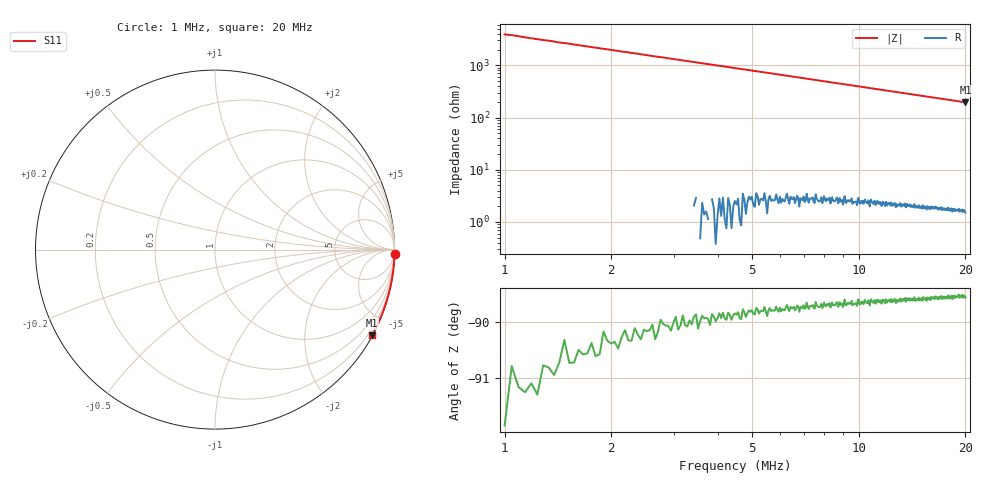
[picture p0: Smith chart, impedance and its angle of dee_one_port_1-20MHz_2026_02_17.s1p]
# HZ S RI R 50
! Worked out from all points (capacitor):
!   401 points, 1 MHz to 20 MHz, reference 50 ohm
!   read as one part to ground: C = 40.3 pF near 1.095 MHz
!   lowest |Z| = 196 ohm at 20 MHz (marker M1)
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1000000  1.001 -0.0256
1047500  1 -0.0263
1095000  1 -0.0277
2330000  0.9984 -0.0588
3375000  0.9964 -0.0849
3850000  0.995 -0.0969
4562500  0.9931 -0.1143
5750000  0.9891 -0.1438
6842500  0.9845 -0.1707
7697500  0.9805 -0.1916
8125000  0.9782 -0.2019
8837500  0.9742 -0.2193
9265000  0.9718 -0.2296
9787500  0.9687 -0.2424
1.05e7  0.9641 -0.2595
1.14975e7  0.957 -0.2833
1.23525e7  0.9505 -0.3036
1.2875e7  0.9466 -0.3159
1.40625e7  0.9363 -0.3437
1.46325e7  0.9314 -0.3568
1.525e7  0.9257 -0.371
1.58675e7  0.9195 -0.3854
1.67225e7  0.9109 -0.4049
1.7625e7  0.9014 -0.425
1.87175e7  0.8891 -0.4493
1.98575e7  0.8758 -0.4743
1.9905e7  0.8754 -0.4754
2e7  0.8745 -0.4773
